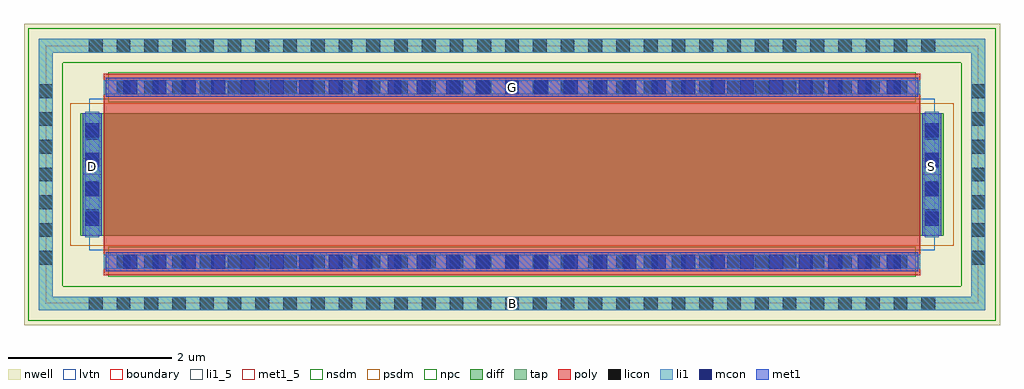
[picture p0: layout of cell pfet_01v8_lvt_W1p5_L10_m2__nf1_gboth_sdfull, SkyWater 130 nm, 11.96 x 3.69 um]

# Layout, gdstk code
import gdstk
lib = gdstk.Library(unit=1e-6, precision=1e-09)
def R(c, l, rs):  # rectangles x0, y0, x1, y1
    for r in rs: c.add(gdstk.rectangle(r[:2], r[2:], *l))
def A(c, l, x, y, w, h, nx, ny, dx, dy):  # array of equal rectangles
    R(c, l, [(x+i*dx, y+j*dy, x+i*dx+w, y+j*dy+h) for i in range(nx) for j in range(ny)])
nwell = (64, 20)
diff = (65, 20)
tap = (65, 44)
poly = (66, 20)
licon = (66, 44)
li1_5 = (67, 5)
li1 = (67, 20)
mcon = (67, 44)
met1_5 = (68, 5)
met1 = (68, 20)
nsdm = (93, 44)
psdm = (94, 20)
npc = (95, 20)
lvtn = (125, 44)
boundary = (235, 4)

sky130_fd_pr__pfet_01v8_ = lib.new_cell('sky130_fd_pr__pfet_01v8_lvt_WZ3EXP')
R(sky130_fd_pr__pfet_01v8_, nwell, [(-5.98,-1.845,5.98,1.845)])
R(sky130_fd_pr__pfet_01v8_, diff, [(-5.29,-0.75,5.29,0.75)])
R(sky130_fd_pr__pfet_01v8_, tap, [(-5.8,-1.665,5.8,-1.495), (-5.8,-1.495,-5.63,1.495), (5.63,-1.495,5.8,1.495), (-5.8,1.495,5.8,1.665)])
R(sky130_fd_pr__pfet_01v8_, poly, [(-5,-1.235,5,1.235)])
A(sky130_fd_pr__pfet_01v8_, licon, -5.185, -1.665, 0.17, 0.17, 31, 2, 0.34, 3.16)
A(sky130_fd_pr__pfet_01v8_, licon, -4.845, -1.155, 0.17, 0.17, 29, 2, 0.34, 2.14)
A(sky130_fd_pr__pfet_01v8_, licon, -5.8, -1.105, 0.17, 0.17, 1, 7, 0, 0.34)
A(sky130_fd_pr__pfet_01v8_, licon, 5.63, -1.105, 0.17, 0.17, 1, 7, 0, 0.34)
A(sky130_fd_pr__pfet_01v8_, licon, -5.23, -0.595, 0.17, 0.17, 1, 4, 0, 0.34)
A(sky130_fd_pr__pfet_01v8_, licon, 5.06, -0.595, 0.17, 0.17, 1, 4, 0, 0.34)
R(sky130_fd_pr__pfet_01v8_, li1, [(-5.8,-1.665,5.8,-1.495), (-5.8,-1.495,-5.63,1.495), (5.63,-1.495,5.8,1.495), (-5,-1.155,5,-0.985), (-5.23,-0.77,-5.06,0.77), (5.06,-0.77,5.23,0.77), (-5,0.985,5,1.155), (-5.8,1.495,5.8,1.665)])
A(sky130_fd_pr__pfet_01v8_, mcon, -4.765, -1.155, 0.17, 0.17, 27, 2, 0.36, 2.14)
A(sky130_fd_pr__pfet_01v8_, mcon, -5.23, -0.625, 0.17, 0.17, 1, 4, 0, 0.36)
A(sky130_fd_pr__pfet_01v8_, mcon, 5.06, -0.625, 0.17, 0.17, 1, 4, 0, 0.36)
R(sky130_fd_pr__pfet_01v8_, met1, [(-4.98,-1.185,4.98,-0.955), (-5.26,-0.75,-5.03,0.75), (5.03,-0.75,5.26,0.75), (-4.98,0.955,4.98,1.185)])
R(sky130_fd_pr__pfet_01v8_, nsdm, [(-5.925,-1.79,5.925,-1.37), (-5.925,-1.37,-5.505,1.37), (5.505,-1.37,5.925,1.37), (-5.925,1.37,5.925,1.79)])
R(sky130_fd_pr__pfet_01v8_, psdm, [(-5.415,-0.875,5.415,0.875)])
R(sky130_fd_pr__pfet_01v8_, npc, [(-4.945,-1.255,4.945,-0.885), (-4.945,0.885,4.945,1.255)])
R(sky130_fd_pr__pfet_01v8_, lvtn, [(-5.18,-0.93,5.18,0.93)])
R(sky130_fd_pr__pfet_01v8_, boundary, [(-5.715,-1.58,5.715,1.58)])
sky130_fd_pr__pfet_01v8_.add(gdstk.Label('B', (0,-1.58), layer=67, texttype=5))
sky130_fd_pr__pfet_01v8_.add(gdstk.Label('D', (-5.145,0), layer=67, texttype=5))
sky130_fd_pr__pfet_01v8_.add(gdstk.Label('S', (5.145,0), layer=67, texttype=5))
sky130_fd_pr__pfet_01v8_.add(gdstk.Label('G', (0,1.07), layer=67, texttype=5))

pfet_01v8_lvt_w1p5_l10_m = lib.new_cell('pfet_01v8_lvt_W1p5_L10_m2__nf1_gboth_sdfull')
R(pfet_01v8_lvt_w1p5_l10_m, li1_5, [(5.63,-0.085,5.8,0.085)])
R(pfet_01v8_lvt_w1p5_l10_m, li1, [(5.63,-0.085,5.8,0.085)])
R(pfet_01v8_lvt_w1p5_l10_m, met1_5, [(0.455,1.58,0.685,1.78), (10.745,1.58,10.975,1.78), (0.735,2.535,10.695,2.765)])
R(pfet_01v8_lvt_w1p5_l10_m, met1, [(0.455,1.58,0.685,1.78), (10.745,1.58,10.975,1.78), (0.735,2.535,10.695,2.765)])
pfet_01v8_lvt_w1p5_l10_m.add(gdstk.Reference(sky130_fd_pr__pfet_01v8_, (5.715,1.58)))
pfet_01v8_lvt_w1p5_l10_m.add(gdstk.Label('D', (0.57,1.68), layer=68, texttype=5))
pfet_01v8_lvt_w1p5_l10_m.add(gdstk.Label('S', (10.86,1.68), layer=68, texttype=5))
pfet_01v8_lvt_w1p5_l10_m.add(gdstk.Label('G', (5.715,2.65), layer=68, texttype=5))
pfet_01v8_lvt_w1p5_l10_m.add(gdstk.Label('B', (5.715,0), layer=67, texttype=5))

lib.write_gds('pfet_01v8_lvt_W1p5_L10_m2__nf1_gboth_sdfull.gds')
